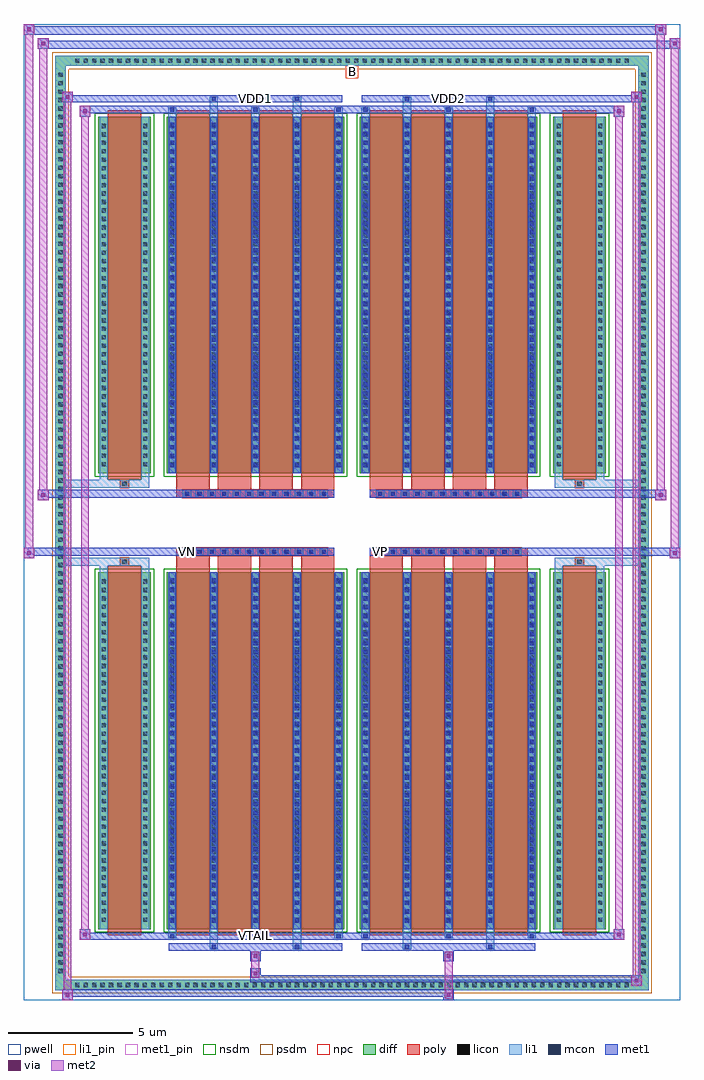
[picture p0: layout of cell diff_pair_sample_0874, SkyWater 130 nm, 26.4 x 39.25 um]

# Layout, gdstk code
import gdstk
lib = gdstk.Library(unit=1e-6, precision=5e-09)
def R(c, l, rs):  # rectangles x0, y0, x1, y1
    for r in rs: c.add(gdstk.rectangle(r[:2], r[2:], *l))
def A(c, l, x, y, w, h, nx, ny, dx, dy):  # array of equal rectangles
    R(c, l, [(x+i*dx, y+j*dy, x+i*dx+w, y+j*dy+h) for i in range(nx) for j in range(ny)])
def P(c, l, *ps):  # polygons
    for p in ps: c.add(gdstk.Polygon(p, *l))
pwell = (64, 44)
diff = (65, 20)
poly = (66, 20)
licon = (66, 44)
li1_pin = (67, 16)
li1 = (67, 20)
mcon = (67, 44)
met1_pin = (68, 16)
met1 = (68, 20)
via = (68, 44)
met2 = (69, 20)
nsdm = (93, 44)
psdm = (94, 20)
npc = (95, 20)

diff_pair_sample_0874 = lib.new_cell('diff_pair_sample_0874')
R(diff_pair_sample_0874, pwell, [(-13.2,-19.19,13.2,20.06), (-10.52,-17.38,-0.01,-0.8), (0.01,-17.38,10.52,-0.8), (-10.52,0.8,-0.01,17.38), (0.01,0.8,10.52,17.38)])
A(diff_pair_sample_0874, diff, -11.255, -18.79, 0.41, 0.41, 66, 2, 0.34, 37.17)
A(diff_pair_sample_0874, diff, -11.93, -18.225, 0.41, 0.41, 1, 107, 0, 0.34)
A(diff_pair_sample_0874, diff, 11.52, -18.225, 0.41, 0.41, 1, 107, 0, 0.34)
R(diff_pair_sample_0874, diff, [(-11.255,-18.79,11.255,-18.38), (-11.93,-18.225,-11.52,18.225), (11.52,-18.225,11.93,18.225), (-10.21,-16.335,-8.09,-1.985), (-7.45,-16.335,-0.32,-1.985), (0.32,-16.335,7.45,-1.985), (8.09,-16.335,10.21,-1.985), (-10.21,1.985,-8.09,16.335), (-7.45,1.985,-0.32,16.335), (0.32,1.985,7.45,16.335), (8.09,1.985,10.21,16.335), (-11.255,18.38,11.255,18.79)])
P(diff_pair_sample_0874, diff, [(11.93,18.79),(-11.93,18.79),(-11.93,-18.38),(-11.52,-18.38),(-11.52,18.38),(11.52,18.38),(11.52,-18.38),(-11.52,-18.38),(-11.93,-18.38),(-11.93,-18.79),(11.93,-18.79)])
A(diff_pair_sample_0874, poly, -7.06, -16.585, 1.34, 14.85, 4, 2, 1.67, 18.32)
A(diff_pair_sample_0874, poly, 0.71, -16.585, 1.34, 14.85, 4, 2, 1.67, 18.32)
A(diff_pair_sample_0874, poly, -7.06, -1.735, 1.34, 0.405, 4, 2, 1.67, 3.065)
A(diff_pair_sample_0874, poly, 0.71, -1.735, 1.34, 0.405, 4, 2, 1.67, 3.065)
A(diff_pair_sample_0874, poly, -6.8, -1.33, 0.33, 0.33, 12, 2, 0.5, 2.33)
A(diff_pair_sample_0874, poly, 0.97, -1.33, 0.33, 0.33, 12, 2, 0.5, 2.33)
R(diff_pair_sample_0874, poly, [(-9.82,-16.585,-8.48,-1.735), (8.48,-16.585,9.82,-1.735), (-9.315,-1.735,-8.985,-1.405), (-9.315,-1.735,-8.985,-1.405), (8.985,-1.735,9.315,-1.405), (8.985,-1.735,9.315,-1.405), (-7.06,-1.33,-0.71,-1), (0.71,-1.33,7.06,-1), (-7.06,1,-0.71,1.33), (0.71,1,7.06,1.33), (-9.315,1.405,-8.985,1.735), (-9.315,1.405,-8.985,1.735), (8.985,1.405,9.315,1.735), (8.985,1.405,9.315,1.735), (-9.82,1.735,-8.48,16.585), (8.48,1.735,9.82,16.585)])
A(diff_pair_sample_0874, licon, -11.135, -18.67, 0.17, 0.17, 66, 2, 0.34, 37.17)
A(diff_pair_sample_0874, licon, -11.81, -18.105, 0.17, 0.17, 1, 107, 0, 0.34)
A(diff_pair_sample_0874, licon, 11.64, -18.105, 0.17, 0.17, 1, 107, 0, 0.34)
A(diff_pair_sample_0874, licon, -10.07, -16.045, 0.17, 0.17, 1, 41, 0, 0.34)
A(diff_pair_sample_0874, licon, -8.4, -16.045, 0.17, 0.17, 1, 41, 0, 0.34)
A(diff_pair_sample_0874, licon, -7.31, -16.045, 0.17, 0.17, 5, 41, 1.67, 0.34)
A(diff_pair_sample_0874, licon, 0.46, -16.045, 0.17, 0.17, 5, 41, 1.67, 0.34)
A(diff_pair_sample_0874, licon, 8.23, -16.045, 0.17, 0.17, 1, 41, 0, 0.34)
A(diff_pair_sample_0874, licon, 9.9, -16.045, 0.17, 0.17, 1, 41, 0, 0.34)
A(diff_pair_sample_0874, licon, -6.72, -1.25, 0.17, 0.17, 12, 2, 0.5, 2.33)
A(diff_pair_sample_0874, licon, 1.05, -1.25, 0.17, 0.17, 12, 2, 0.5, 2.33)
A(diff_pair_sample_0874, licon, -10.07, 2.275, 0.17, 0.17, 1, 41, 0, 0.34)
A(diff_pair_sample_0874, licon, -8.4, 2.275, 0.17, 0.17, 1, 41, 0, 0.34)
A(diff_pair_sample_0874, licon, -7.31, 2.275, 0.17, 0.17, 5, 41, 1.67, 0.34)
A(diff_pair_sample_0874, licon, 0.46, 2.275, 0.17, 0.17, 5, 41, 1.67, 0.34)
A(diff_pair_sample_0874, licon, 8.23, 2.275, 0.17, 0.17, 1, 41, 0, 0.34)
A(diff_pair_sample_0874, licon, 9.9, 2.275, 0.17, 0.17, 1, 41, 0, 0.34)
R(diff_pair_sample_0874, licon, [(-9.235,-1.655,-9.065,-1.485), (9.065,-1.655,9.235,-1.485), (-9.235,1.485,-9.065,1.655), (9.065,1.485,9.235,1.655)])
R(diff_pair_sample_0874, li1_pin, [(-0.25,17.88,0.25,18.38)])
A(diff_pair_sample_0874, li1, -11.215, -18.75, 0.33, 0.33, 66, 2, 0.34, 37.17)
A(diff_pair_sample_0874, li1, -11.89, -18.185, 0.33, 0.33, 1, 107, 0, 0.34)
A(diff_pair_sample_0874, li1, 11.56, -18.185, 0.33, 0.33, 1, 107, 0, 0.34)
A(diff_pair_sample_0874, li1, -7.39, -16.71, 0.33, 0.375, 3, 2, 3.34, 33.045)
A(diff_pair_sample_0874, li1, -7.31, -16.71, 0.17, 0.17, 3, 2, 3.34, 33.25)
A(diff_pair_sample_0874, li1, 0.38, -16.71, 0.33, 0.375, 3, 2, 3.34, 33.045)
A(diff_pair_sample_0874, li1, 0.46, -16.71, 0.17, 0.17, 3, 2, 3.34, 33.25)
A(diff_pair_sample_0874, li1, -7.39, -16.335, 0.33, 14.35, 5, 2, 1.67, 18.32)
A(diff_pair_sample_0874, li1, 0.38, -16.335, 0.33, 14.35, 5, 2, 1.67, 18.32)
A(diff_pair_sample_0874, li1, -10.15, -16.125, 0.33, 0.33, 1, 41, 0, 0.34)
A(diff_pair_sample_0874, li1, -8.48, -16.125, 0.33, 0.33, 1, 41, 0, 0.34)
A(diff_pair_sample_0874, li1, -7.39, -16.125, 0.33, 0.33, 5, 41, 1.67, 0.34)
A(diff_pair_sample_0874, li1, 0.38, -16.125, 0.33, 0.33, 5, 41, 1.67, 0.34)
A(diff_pair_sample_0874, li1, 8.15, -16.125, 0.33, 0.33, 1, 41, 0, 0.34)
A(diff_pair_sample_0874, li1, 9.82, -16.125, 0.33, 0.33, 1, 41, 0, 0.34)
A(diff_pair_sample_0874, li1, -7.31, -16.085, 0.17, 0.17, 5, 39, 1.67, 0.36)
A(diff_pair_sample_0874, li1, -7.31, -16.085, 0.17, 13.85, 5, 2, 1.67, 18.32)
A(diff_pair_sample_0874, li1, 0.46, -16.085, 0.17, 0.17, 5, 39, 1.67, 0.36)
A(diff_pair_sample_0874, li1, 0.46, -16.085, 0.17, 13.85, 5, 2, 1.67, 18.32)
A(diff_pair_sample_0874, li1, -6.8, -1.33, 0.33, 0.33, 12, 2, 0.5, 2.33)
A(diff_pair_sample_0874, li1, 0.97, -1.33, 0.33, 0.33, 12, 2, 0.5, 2.33)
A(diff_pair_sample_0874, li1, -10.15, 2.195, 0.33, 0.33, 1, 41, 0, 0.34)
A(diff_pair_sample_0874, li1, -8.48, 2.195, 0.33, 0.33, 1, 41, 0, 0.34)
A(diff_pair_sample_0874, li1, -7.39, 2.195, 0.33, 0.33, 5, 41, 1.67, 0.34)
A(diff_pair_sample_0874, li1, 0.38, 2.195, 0.33, 0.33, 5, 41, 1.67, 0.34)
A(diff_pair_sample_0874, li1, 8.15, 2.195, 0.33, 0.33, 1, 41, 0, 0.34)
A(diff_pair_sample_0874, li1, 9.82, 2.195, 0.33, 0.33, 1, 41, 0, 0.34)
A(diff_pair_sample_0874, li1, -7.31, 2.235, 0.17, 0.17, 5, 39, 1.67, 0.36)
A(diff_pair_sample_0874, li1, 0.46, 2.235, 0.17, 0.17, 5, 39, 1.67, 0.36)
R(diff_pair_sample_0874, li1, [(-11.93,-18.79,-11.52,-18.38), (-11.93,-18.79,-11.52,-18.38), (-11.52,-18.79,11.52,-18.38), (11.52,-18.79,11.93,-18.38), (11.52,-18.79,11.93,-18.38), (-11.93,-18.38,-11.52,18.38), (11.52,-18.38,11.93,18.38), (-5.72,-17.14,-5.39,-16.335), (-5.64,-17.14,-5.47,-16.97), (-2.38,-17.14,-2.05,-16.335), (-2.3,-17.14,-2.13,-16.97), (2.05,-17.14,2.38,-16.335), (2.13,-17.14,2.3,-16.97), (5.39,-17.14,5.72,-16.335), (5.47,-17.14,5.64,-16.97), (-10.15,-16.335,-9.82,-1.985), (-8.48,-16.335,-8.15,-1.985), (8.15,-16.335,8.48,-1.985), (9.82,-16.335,10.15,-1.985), (-10.15,-1.985,-9.82,-1.405), (-8.48,-1.985,-8.15,-1.405), (8.15,-1.985,8.48,-1.405), (9.82,-1.985,10.15,-1.405), (-11.93,-1.735,-9.315,-1.405), (-10.15,-1.735,-9.315,-1.405), (-9.315,-1.735,-8.985,-1.405), (-8.985,-1.735,-8.15,-1.405), (8.15,-1.735,8.985,-1.405), (8.985,-1.735,9.315,-1.405), (8.985,-1.735,11.93,-1.405), (9.315,-1.735,10.15,-1.405), (-11.93,1.405,-9.315,1.735), (-10.15,1.405,-9.315,1.735), (-10.15,1.405,-9.82,1.985), (-9.315,1.405,-8.985,1.735), (-8.985,1.405,-8.15,1.735), (-8.48,1.405,-8.15,1.985), (8.15,1.405,8.985,1.735), (8.15,1.405,8.48,1.985), (8.985,1.405,9.315,1.735), (8.985,1.405,11.93,1.735), (9.315,1.405,10.15,1.735), (9.82,1.405,10.15,1.985), (-10.15,1.985,-9.82,16.335), (-8.48,1.985,-8.15,16.335), (8.15,1.985,8.48,16.335), (9.82,1.985,10.15,16.335), (-5.72,16.335,-5.39,17.14), (-2.38,16.335,-2.05,17.14), (2.05,16.335,2.38,17.14), (5.39,16.335,5.72,17.14), (-5.64,16.97,-5.47,17.14), (-2.3,16.97,-2.13,17.14), (2.13,16.97,2.3,17.14), (5.47,16.97,5.64,17.14), (-11.93,18.38,-11.52,18.79), (-11.93,18.38,-11.52,18.79), (-11.52,18.38,11.52,18.79), (11.52,18.38,11.93,18.79), (11.52,18.38,11.93,18.79)])
A(diff_pair_sample_0874, mcon, -7.31, -16.71, 0.17, 0.17, 3, 2, 3.34, 33.25)
A(diff_pair_sample_0874, mcon, 0.46, -16.71, 0.17, 0.17, 3, 2, 3.34, 33.25)
A(diff_pair_sample_0874, mcon, -7.31, -16.085, 0.17, 0.17, 5, 39, 1.67, 0.36)
A(diff_pair_sample_0874, mcon, 0.46, -16.085, 0.17, 0.17, 5, 39, 1.67, 0.36)
A(diff_pair_sample_0874, mcon, -6.72, -1.25, 0.17, 0.17, 12, 2, 0.5, 2.33)
A(diff_pair_sample_0874, mcon, 1.05, -1.25, 0.17, 0.17, 12, 2, 0.5, 2.33)
A(diff_pair_sample_0874, mcon, -7.31, 2.235, 0.17, 0.17, 5, 39, 1.67, 0.36)
A(diff_pair_sample_0874, mcon, 0.46, 2.235, 0.17, 0.17, 5, 39, 1.67, 0.36)
R(diff_pair_sample_0874, mcon, [(-5.64,-17.14,-5.47,-16.97), (-2.3,-17.14,-2.13,-16.97), (2.13,-17.14,2.3,-16.97), (5.47,-17.14,5.64,-16.97), (-5.64,16.97,-5.47,17.14), (-2.3,16.97,-2.13,17.14), (2.13,16.97,2.3,17.14), (5.47,16.97,5.64,17.14)])
R(diff_pair_sample_0874, met1_pin, [(-4.02,-16.75,-3.75,-16.48), (-6.77,-1.29,-6.5,-1.02), (1,-1.29,1.27,-1.02), (-4.02,16.93,-3.75,17.2), (3.75,16.93,4.02,17.2)])
A(diff_pair_sample_0874, met1, -7.37, -16.77, 0.29, 0.29, 3, 2, 3.34, 33.25)
A(diff_pair_sample_0874, met1, 0.4, -16.77, 0.29, 0.29, 3, 2, 3.34, 33.25)
A(diff_pair_sample_0874, met1, -7.37, -16.335, 0.29, 14.35, 5, 2, 1.67, 18.32)
A(diff_pair_sample_0874, met1, 0.4, -16.335, 0.29, 14.35, 5, 2, 1.67, 18.32)
A(diff_pair_sample_0874, met1, -7.37, -16.145, 0.29, 0.29, 5, 39, 1.67, 0.36)
A(diff_pair_sample_0874, met1, 0.4, -16.145, 0.29, 0.29, 5, 39, 1.67, 0.36)
A(diff_pair_sample_0874, met1, -6.78, -1.31, 0.29, 0.29, 12, 2, 0.5, 2.33)
A(diff_pair_sample_0874, met1, 0.99, -1.31, 0.29, 0.29, 12, 2, 0.5, 2.33)
A(diff_pair_sample_0874, met1, -7.37, 2.175, 0.29, 0.29, 5, 39, 1.67, 0.36)
A(diff_pair_sample_0874, met1, 0.4, 2.175, 0.29, 0.29, 5, 39, 1.67, 0.36)
R(diff_pair_sample_0874, met1, [(-11.66,-19.19,-11.23,-18.76), (3.67,-19.19,4.1,-18.76), (-11.66,-19.05,4.1,-18.76), (11.23,-18.62,11.66,-18.19), (-4.1,-18.48,11.66,-18.19), (-4.1,-18.34,-3.67,-17.91), (-4.1,-17.63,-3.67,-17.2), (3.67,-17.63,4.1,-17.2), (-7.37,-17.2,-0.4,-16.91), (-5.7,-17.2,-5.41,-16.91), (-2.36,-17.2,-2.07,-16.91), (0.4,-17.2,7.37,-16.91), (2.07,-17.2,2.36,-16.91), (5.41,-17.2,5.7,-16.91), (-10.95,-16.77,-10.52,-16.34), (-10.95,-16.77,-7.37,-16.48), (-7.37,-16.77,-0.4,-16.48), (-0.4,-16.77,0.4,-16.48), (0.4,-16.77,7.37,-16.48), (7.37,-16.77,10.95,-16.48), (10.52,-16.77,10.95,-16.34), (-13.2,-1.43,-12.77,-1), (12.77,-1.43,13.2,-1), (-13.2,-1.33,-0.71,-1), (-7.06,-1.33,-0.71,-1), (0.71,-1.33,7.06,-1), (0.71,-1.33,13.2,-1), (-12.63,0.9,-12.2,1.33), (12.2,0.9,12.63,1.33), (-12.63,1,-7.06,1.33), (-7.06,1,-0.71,1.33), (0.71,1,7.06,1.33), (7.06,1,12.63,1.33), (-10.95,16.34,-10.52,16.77), (10.52,16.34,10.95,16.77), (-10.95,16.48,-7.37,16.77), (-7.37,16.48,-0.4,16.77), (-0.4,16.48,0.4,16.77), (0.4,16.48,7.37,16.77), (7.37,16.48,10.95,16.77), (-11.66,16.91,-11.23,17.34), (-11.66,16.91,-7.37,17.2), (-7.37,16.91,-0.4,17.2), (-5.7,16.91,-5.41,17.2), (-2.36,16.91,-2.07,17.2), (0.4,16.91,7.37,17.2), (2.07,16.91,2.36,17.2), (5.41,16.91,5.7,17.2), (7.37,16.91,11.66,17.2), (11.23,16.91,11.66,17.34), (-12.63,19.06,-12.2,19.49), (-12.63,19.06,-10.52,19.39), (-10.52,19.06,10.52,19.39), (10.52,19.06,13.2,19.39), (12.77,19.06,13.2,19.49), (-13.2,19.63,-12.77,20.06), (-13.2,19.63,-10.52,19.96), (-10.52,19.63,10.52,19.96), (10.52,19.63,12.63,19.96), (12.2,19.63,12.63,20.06)])
R(diff_pair_sample_0874, via, [(-11.52,-19.05,-11.37,-18.9), (3.81,-19.05,3.96,-18.9), (11.37,-18.48,11.52,-18.33), (-3.96,-18.2,-3.81,-18.05), (-3.96,-17.49,-3.81,-17.34), (3.81,-17.49,3.96,-17.34), (-10.81,-16.63,-10.66,-16.48), (10.66,-16.63,10.81,-16.48), (-13.06,-1.29,-12.91,-1.14), (12.91,-1.29,13.06,-1.14), (-12.49,1.04,-12.34,1.19), (12.34,1.04,12.49,1.19), (-10.81,16.48,-10.66,16.63), (10.66,16.48,10.81,16.63), (-11.52,17.05,-11.37,17.2), (11.37,17.05,11.52,17.2), (-12.49,19.2,-12.34,19.35), (12.91,19.2,13.06,19.35), (-13.06,19.77,-12.91,19.92), (12.34,19.77,12.49,19.92)])
R(diff_pair_sample_0874, met2, [(-11.66,-19.19,-11.23,-18.76), (-11.59,-19.19,-11.3,17.34), (-11.3,-19.19,-11.23,-18.76), (-11.61,-19.14,-11.28,-18.81), (3.72,-19.14,4.05,-18.81), (3.72,-18.81,4.05,-17.58), (11.23,-18.62,11.66,-18.19), (11.3,-18.62,11.59,17.34), (11.59,-18.62,11.66,-18.19), (11.28,-18.57,11.61,-18.24), (-4.05,-18.29,-3.72,-17.96), (-4.05,-17.96,-3.72,-17.58), (-4.05,-17.58,-3.72,-17.25), (3.72,-17.58,4.05,-17.25), (-10.95,-16.77,-10.52,-16.34), (-10.88,-16.77,-10.59,16.77), (-10.59,-16.77,-10.52,-16.34), (10.52,-16.77,10.95,-16.34), (10.59,-16.77,10.88,16.77), (10.88,-16.77,10.95,-16.34), (-10.9,-16.72,-10.57,-16.39), (10.57,-16.72,10.9,-16.39), (-13.2,-1.43,-12.77,-1), (-13.15,-1.43,-12.82,20.06), (-12.82,-1.43,-12.77,-1), (12.77,-1.43,13.2,-1), (12.82,-1.43,13.15,19.49), (13.15,-1.43,13.2,-1), (-13.15,-1.38,-12.82,-1.05), (12.82,-1.38,13.15,-1.05), (-12.63,0.9,-12.2,1.33), (-12.58,0.9,-12.25,19.49), (-12.25,0.9,-12.2,1.33), (12.2,0.9,12.63,1.33), (12.25,0.9,12.58,20.06), (12.58,0.9,12.63,1.33), (-12.58,0.95,-12.25,1.28), (12.25,0.95,12.58,1.28), (-10.95,16.34,-10.52,16.77), (-10.59,16.34,-10.52,16.77), (10.52,16.34,10.95,16.77), (10.88,16.34,10.95,16.77), (-10.9,16.39,-10.57,16.72), (10.57,16.39,10.9,16.72), (-11.66,16.91,-11.23,17.34), (-11.3,16.91,-11.23,17.34), (11.23,16.91,11.66,17.34), (11.59,16.91,11.66,17.34), (-11.61,16.96,-11.28,17.29), (11.28,16.96,11.61,17.29), (-12.63,19.06,-12.2,19.49), (-12.25,19.06,-12.2,19.49), (12.77,19.06,13.2,19.49), (13.15,19.06,13.2,19.49), (-12.58,19.11,-12.25,19.44), (12.82,19.11,13.15,19.44), (-13.2,19.63,-12.77,20.06), (-12.82,19.63,-12.77,20.06), (12.2,19.63,12.63,20.06), (12.58,19.63,12.63,20.06), (-13.15,19.68,-12.82,20.01), (12.25,19.68,12.58,20.01)])
R(diff_pair_sample_0874, nsdm, [(-10.34,-16.465,-7.96,-1.855), (-7.58,-16.465,-0.19,-1.855), (0.19,-16.465,7.58,-1.855), (7.96,-16.465,10.34,-1.855), (-10.34,1.855,-7.96,16.465), (-7.58,1.855,-0.19,16.465), (0.19,1.855,7.58,16.465), (7.96,1.855,10.34,16.465)])
P(diff_pair_sample_0874, psdm, [(12.06,18.92),(-12.06,18.92),(-12.06,-18.25),(-11.39,-18.25),(-11.39,18.25),(11.39,18.25),(11.39,-18.25),(-11.39,-18.25),(-12.06,-18.25),(-12.06,-18.92),(12.06,-18.92)])
A(diff_pair_sample_0874, npc, -6.82, -1.35, 0.37, 0.37, 12, 2, 0.5, 2.33)
A(diff_pair_sample_0874, npc, 0.95, -1.35, 0.37, 0.37, 12, 2, 0.5, 2.33)
R(diff_pair_sample_0874, npc, [(-9.335,-1.755,-8.965,-1.385), (8.965,-1.755,9.335,-1.385), (-6.82,-1.35,-5.95,-0.98), (-6.82,-1.35,-5.95,-0.98), (-6.32,-1.35,-5.45,-0.98), (-6.32,-1.35,-5.45,-0.98), (-5.82,-1.35,-4.95,-0.98), (-5.82,-1.35,-4.95,-0.98), (-5.32,-1.35,-4.45,-0.98), (-5.32,-1.35,-4.45,-0.98), (-4.82,-1.35,-3.95,-0.98), (-4.82,-1.35,-3.95,-0.98), (-4.32,-1.35,-3.45,-0.98), (-4.32,-1.35,-3.45,-0.98), (-3.82,-1.35,-2.95,-0.98), (-3.82,-1.35,-2.95,-0.98), (-3.32,-1.35,-2.45,-0.98), (-3.32,-1.35,-2.45,-0.98), (-2.82,-1.35,-1.95,-0.98), (-2.82,-1.35,-1.95,-0.98), (-2.32,-1.35,-1.45,-0.98), (-2.32,-1.35,-1.45,-0.98), (-1.82,-1.35,-0.95,-0.98), (-1.82,-1.35,-0.95,-0.98), (0.95,-1.35,1.82,-0.98), (0.95,-1.35,1.82,-0.98), (1.45,-1.35,2.32,-0.98), (1.45,-1.35,2.32,-0.98), (1.95,-1.35,2.82,-0.98), (1.95,-1.35,2.82,-0.98), (2.45,-1.35,3.32,-0.98), (2.45,-1.35,3.32,-0.98), (2.95,-1.35,3.82,-0.98), (2.95,-1.35,3.82,-0.98), (3.45,-1.35,4.32,-0.98), (3.45,-1.35,4.32,-0.98), (3.95,-1.35,4.82,-0.98), (3.95,-1.35,4.82,-0.98), (4.45,-1.35,5.32,-0.98), (4.45,-1.35,5.32,-0.98), (4.95,-1.35,5.82,-0.98), (4.95,-1.35,5.82,-0.98), (5.45,-1.35,6.32,-0.98), (5.45,-1.35,6.32,-0.98), (5.95,-1.35,6.82,-0.98), (5.95,-1.35,6.82,-0.98), (-6.82,0.98,-5.95,1.35), (-6.82,0.98,-5.95,1.35), (-6.32,0.98,-5.45,1.35), (-6.32,0.98,-5.45,1.35), (-5.82,0.98,-4.95,1.35), (-5.82,0.98,-4.95,1.35), (-5.32,0.98,-4.45,1.35), (-5.32,0.98,-4.45,1.35), (-4.82,0.98,-3.95,1.35), (-4.82,0.98,-3.95,1.35), (-4.32,0.98,-3.45,1.35), (-4.32,0.98,-3.45,1.35), (-3.82,0.98,-2.95,1.35), (-3.82,0.98,-2.95,1.35), (-3.32,0.98,-2.45,1.35), (-3.32,0.98,-2.45,1.35), (-2.82,0.98,-1.95,1.35), (-2.82,0.98,-1.95,1.35), (-2.32,0.98,-1.45,1.35), (-2.32,0.98,-1.45,1.35), (-1.82,0.98,-0.95,1.35), (-1.82,0.98,-0.95,1.35), (0.95,0.98,1.82,1.35), (0.95,0.98,1.82,1.35), (1.45,0.98,2.32,1.35), (1.45,0.98,2.32,1.35), (1.95,0.98,2.82,1.35), (1.95,0.98,2.82,1.35), (2.45,0.98,3.32,1.35), (2.45,0.98,3.32,1.35), (2.95,0.98,3.82,1.35), (2.95,0.98,3.82,1.35), (3.45,0.98,4.32,1.35), (3.45,0.98,4.32,1.35), (3.95,0.98,4.82,1.35), (3.95,0.98,4.82,1.35), (4.45,0.98,5.32,1.35), (4.45,0.98,5.32,1.35), (4.95,0.98,5.82,1.35), (4.95,0.98,5.82,1.35), (5.45,0.98,6.32,1.35), (5.45,0.98,6.32,1.35), (5.95,0.98,6.82,1.35), (5.95,0.98,6.82,1.35), (-9.335,1.385,-8.965,1.755), (8.965,1.385,9.335,1.755)])
diff_pair_sample_0874.add(gdstk.Label('VTAIL', (-3.885,-16.615), layer=68, texttype=5))
diff_pair_sample_0874.add(gdstk.Label('VN', (-6.635,-1.155), layer=68, texttype=5))
diff_pair_sample_0874.add(gdstk.Label('VP', (1.135,-1.155), layer=68, texttype=5))
diff_pair_sample_0874.add(gdstk.Label('B', (0,18.13), layer=67, texttype=5))
diff_pair_sample_0874.add(gdstk.Label('VDD2', (3.885,17.065), layer=68, texttype=5))
diff_pair_sample_0874.add(gdstk.Label('VDD1', (-3.885,17.065), layer=68, texttype=5))

lib.write_gds('diff_pair_sample_0874.gds')
